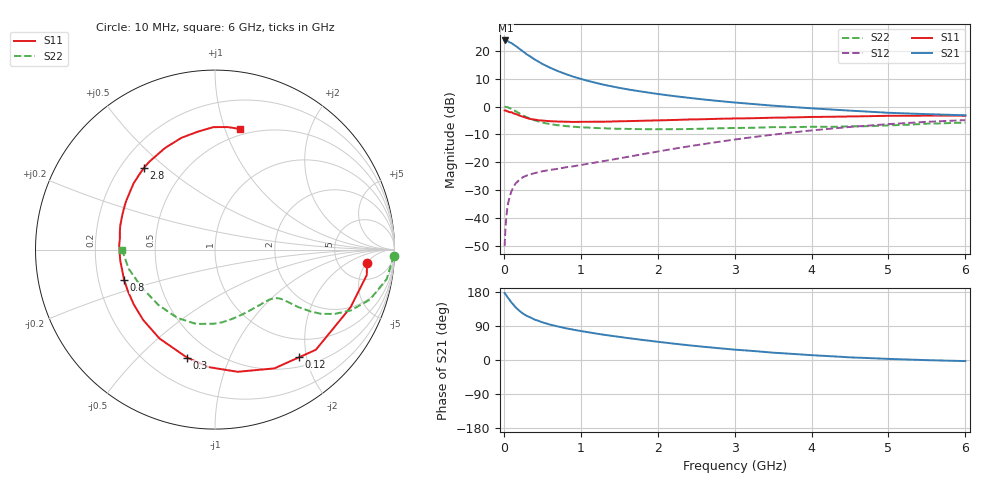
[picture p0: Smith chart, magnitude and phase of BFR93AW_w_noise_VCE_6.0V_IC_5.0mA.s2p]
! Infineon Technologies  Discrete & RF Semiconductors
! BFR93AW
! VCE =  6.0 V,  IC =  5.0 mA
! Common Emitter S-Parameters:  Jan 2017
# GHz  S  MA  R  50
!  f  S11  S21  S12  S22
! GHz  MAG  ANG  MAG  ANG  MAG  ANG  MAG  ANG
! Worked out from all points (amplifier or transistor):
!   77 points, 10 MHz to 6 GHz, reference 50 ohm
!   highest |S21| = 23.8 dB at 20 MHz (marker M1)
!   |S21| within 3 dB of that: start of sweep to 203 MHz
!   unconditionally stable (mu >= 1): 1.064 GHz to 2.168 GHz
!   at 130 MHz: K = 0.19, MSG = 25.5 dB, |S12| = -28.7 dB
!   at 2.2 GHz: K = 0.99, MSG = 9.5 dB, |S12| = -15.2 dB
!   at 6 GHz: K = 0.89, MSG = 0.9 dB, |S12| = -4.9 dB
!   lowest NFmin = 1.18 dB at 450 MHz
!   S11 on the Smith chart (normalised r, x): 10 MHz: 10, -5; 120 MHz: 0.65, -1.87; 300 MHz: 0.36, -0.71; 800 MHz: 0.31, -0.15; 2.8 GHz: 0.29, +0.42; 6 GHz: 0.45, +1.13
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0.01  0.8495 -4.9  15.32 176.9  0.0031 90.0  0.9993 -1.9
0.02  0.8577 -9.5  15.41 174.1  0.006 91.2  0.9879 -4.0
0.05  0.8206 -23.1  14.96 165.1  0.0167 78.3  0.9708 -9.7
0.06  0.8058 -27.3  14.67 162.5  0.0194 75.2  0.9567 -11.2
0.1  0.7921 -44.8  13.82 151.4  0.0304 68.4  0.9077 -17.8
0.12  0.7615 -52.0  13.18 147.0  0.0346 64.5  0.8755 -20.2
0.15  0.7397 -63.5  12.38 139.7  0.0411 60.2  0.8302 -24.1
0.2  0.6922 -79.6  10.98 130.2  0.0478 54.3  0.7561 -28.3
0.25  0.6553 -93.2  9.753 122.3  0.054 50.8  0.6932 -31.1
0.3  0.6216 -104.5  8.658 116.2  0.0579 47.6  0.6396 -32.8
0.4  0.5839 -122.0  7.031 106.6  0.0637 45.0  0.5656 -34.6
0.5  0.5601 -135.6  5.845 99.4  0.0687 44.3  0.5168 -35.4
0.6  0.546 -146.0  5.001 93.5  0.0727 44.9  0.484 -36.0
0.8  0.534 -161.6  3.858 84.0  0.0808 48.2  0.4463 -37.5
1.1  0.5317 -178.2  2.878 73.1  0.0939 53.6  0.4183 -41.1
1.5  0.5442 166.1  2.17 61.1  0.1173 59.5  0.3989 -48.6
2.1  0.5686 148.1  1.616 45.8  0.1643 63.9  0.3908 -64.1
2.8  0.6033 131.2  1.256 31.0  0.2328 63.3  0.4068 -84.3
3.1  0.6135 124.6  1.152 25.9  0.2666 61.3  0.4134 -92.8
4.1  0.652 105.0  0.912 11.6  0.3836 51.7  0.4327 -122.2
5.1  0.6824 89.4  0.764 2.3  0.4926 38.8  0.4635 -155.7
6  0.6862 78.1  0.696 -2.9  0.5716 26.7  0.5179 -179.8
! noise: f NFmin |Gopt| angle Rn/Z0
0.45  1.18  0.25  77  0.14
0.9  1.5  0.29  137  0.15
1.9  2.75  0.49  -153  0.19
2.4  3.37  0.57  -135  0.38
